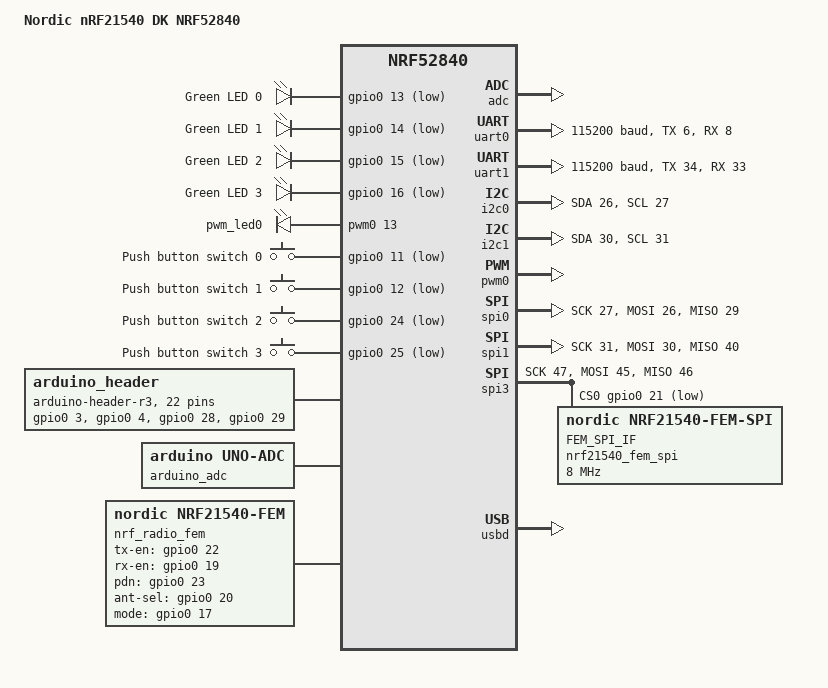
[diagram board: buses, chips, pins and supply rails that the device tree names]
/*
 * Copyright (c) 2020 Nordic Semiconductor ASA
 * Copyright (c) 2017 Linaro Limited
 *
 * SPDX-License-Identifier: Apache-2.0
 */

/dts-v1/;
#include <nordic/nrf52840_qiaa.dtsi>

/ {
	model = "Nordic nRF21540 DK NRF52840";
	compatible = "nordic,nrf21540-dk-nrf52840";

	chosen {
		zephyr,console = &uart0;
		zephyr,shell-uart = &uart0;
		zephyr,uart-mcumgr = &uart0;
		zephyr,bt-mon-uart = &uart0;
		zephyr,bt-c2h-uart = &uart0;
		zephyr,sram = &sram0;
		zephyr,flash = &flash0;
		zephyr,code-partition = &slot0_partition;
	};

	leds {
		compatible = "gpio-leds";
		led0: led_0 {
			gpios = <&gpio0 13 GPIO_ACTIVE_LOW>;
			label = "Green LED 0";
		};
		led1: led_1 {
			gpios = <&gpio0 14 GPIO_ACTIVE_LOW>;
			label = "Green LED 1";
		};
		led2: led_2 {
			gpios = <&gpio0 15 GPIO_ACTIVE_LOW>;
			label = "Green LED 2";
		};
		led3: led_3 {
			gpios = <&gpio0 16 GPIO_ACTIVE_LOW>;
			label = "Green LED 3";
		};
	};

	pwmleds {
		compatible = "pwm-leds";
		pwm_led0: pwm_led_0 {
			pwms = <&pwm0 13>;
		};
	};

	buttons {
		compatible = "gpio-keys";
		button0: button_0 {
			gpios = <&gpio0 11 (GPIO_PULL_UP | GPIO_ACTIVE_LOW)>;
			label = "Push button switch 0";
		};
		button1: button_1 {
			gpios = <&gpio0 12 (GPIO_PULL_UP | GPIO_ACTIVE_LOW)>;
			label = "Push button switch 1";
		};
		button2: button_2 {
			gpios = <&gpio0 24 (GPIO_PULL_UP | GPIO_ACTIVE_LOW)>;
			label = "Push button switch 2";
		};
		button3: button_3 {
			gpios = <&gpio0 25 (GPIO_PULL_UP | GPIO_ACTIVE_LOW)>;
			label = "Push button switch 3";
		};
	};

	arduino_header: connector {
		compatible = "arduino-header-r3";
		#gpio-cells = <2>;
		gpio-map-mask = <0xffffffff 0xffffffc0>;
		gpio-map-pass-thru = <0 0x3f>;
		gpio-map = <0 0 &gpio0 3 0>,	/* A0 */
			   <1 0 &gpio0 4 0>,	/* A1 */
			   <2 0 &gpio0 28 0>,	/* A2 */
			   <3 0 &gpio0 29 0>,	/* A3 */
			   <4 0 &gpio0 30 0>,	/* A4 */
			   <5 0 &gpio0 31 0>,	/* A5 */
			   <6 0 &gpio1 1 0>,	/* D0 */
			   <7 0 &gpio1 2 0>,	/* D1 */
			   <8 0 &gpio1 3 0>,	/* D2 */
			   <9 0 &gpio1 4 0>,	/* D3 */
			   <10 0 &gpio1 5 0>,	/* D4 */
			   <11 0 &gpio1 6 0>,	/* D5 */
			   <12 0 &gpio1 7 0>,	/* D6 */
			   <13 0 &gpio1 8 0>,	/* D7 */
			   <14 0 &gpio1 10 0>,	/* D8 */
			   <15 0 &gpio1 11 0>,	/* D9 */
			   <16 0 &gpio1 12 0>,	/* D10 */
			   <17 0 &gpio1 13 0>,	/* D11 */
			   <18 0 &gpio1 14 0>,	/* D12 */
			   <19 0 &gpio1 15 0>,	/* D13 */
			   <20 0 &gpio0 26 0>,	/* D14 */
			   <21 0 &gpio0 27 0>;	/* D15 */
	};

	arduino_adc: analog-connector {
		compatible = "arduino,uno-adc";
		#io-channel-cells = <1>;
		io-channel-map = <0 &adc 1>,	/* A0 = P0.3 = AIN1 */
				 <1 &adc 2>,	/* A1 = P0.4 = AIN2 */
				 <2 &adc 4>,	/* A2 = P0.28 = AIN4 */
				 <3 &adc 5>,	/* A3 = P0.29 = AIN5 */
				 <4 &adc 6>,	/* A4 = P0.30 = AIN6 */
				 <5 &adc 7>;	/* A5 = P0.31 = AIN7 */
	};

	nrf_radio_fem: nrf21540_fem {
		compatible = "nordic,nrf21540-fem";
		tx-en-gpios = <&gpio0 22 GPIO_ACTIVE_HIGH>;
		rx-en-gpios = <&gpio0 19 GPIO_ACTIVE_HIGH>;
		pdn-gpios = <&gpio0 23 GPIO_ACTIVE_HIGH>;
		ant-sel-gpios = <&gpio0 20 GPIO_ACTIVE_HIGH>;
		mode-gpios = <&gpio0 17 GPIO_ACTIVE_HIGH>;
		spi-if = <&nrf_radio_fem_spi>;
	};

	/* These aliases are provided for compatibility with samples */
	aliases {
		led0 = &led0;
		led1 = &led1;
		led2 = &led2;
		led3 = &led3;
		pwm-led0 = &pwm_led0;
		sw0 = &button0;
		sw1 = &button1;
		sw2 = &button2;
		sw3 = &button3;
		bootloader-led0 = &led0;
		usbd0 = &usbd;
	};
};

&adc {
	status = "okay";
};

&gpiote {
	status = "okay";
};

&gpio0 {
	status = "okay";
};

&gpio1 {
	status = "okay";
};

&uart0 {
	compatible = "nordic,nrf-uarte";
	status = "okay";
	current-speed = <115200>;
	tx-pin = <6>;
	rx-pin = <8>;
	rts-pin = <5>;
	cts-pin = <7>;
};

arduino_serial: &uart1 {
	status = "okay";
	current-speed = <115200>;
	rx-pin = <33>;
	tx-pin = <34>;
};

arduino_i2c: &i2c0 {
	compatible = "nordic,nrf-twi";
	status = "okay";
	sda-pin = <26>;
	scl-pin = <27>;
};

&i2c1 {
	compatible = "nordic,nrf-twi";
	/* Cannot be used together with spi1. */
	/* status = "okay"; */
	sda-pin = <30>;
	scl-pin = <31>;
};

&pwm0 {
	status = "okay";
	ch0-pin = <13>;
	ch0-inverted;
};

&spi0 {
	compatible = "nordic,nrf-spi";
	/* Cannot be used together with i2c0. */
	/* status = "okay"; */
	sck-pin = <27>;
	mosi-pin = <26>;
	miso-pin = <29>;
};

&spi1 {
	compatible = "nordic,nrf-spi";
	status = "okay";
	sck-pin = <31>;
	mosi-pin = <30>;
	miso-pin = <40>;
};

&spi2 {
	compatible = "nordic,nrf-spi";
	status = "disabled";
	sck-pin = <19>;
	mosi-pin = <20>;
	miso-pin = <21>;
};

fem_spi: &spi3 {
	status = "okay";
	sck-pin = <47>;
	miso-pin = <46>;
	mosi-pin = <45>;
	cs-gpios = <&gpio0 21 GPIO_ACTIVE_LOW>;

	nrf_radio_fem_spi: nrf21540_fem_spi@0 {
		compatible = "nordic,nrf21540-fem-spi";
		status = "okay";
		reg = <0>;
		label = "FEM_SPI_IF";
		spi-max-frequency = <8000000>;
	};
};

&flash0 {

	partitions {
		compatible = "fixed-partitions";
		#address-cells = <1>;
		#size-cells = <1>;

		boot_partition: partition@0 {
			label = "mcuboot";
			reg = <0x000000000 0x0000C000>;
		};
		slot0_partition: partition@c000 {
			label = "image-0";
			reg = <0x0000C000 0x00067000>;
		};
		slot1_partition: partition@73000 {
			label = "image-1";
			reg = <0x00073000 0x00067000>;
		};
		scratch_partition: partition@da000 {
			label = "image-scratch";
			reg = <0x000da000 0x0001e000>;
		};

		/*
		 * The flash starting at 0x000f8000 and ending at
		 * 0x000fffff is reserved for use by the application.
		 */

		/*
		 * Storage partition will be used by FCB/LittleFS/NVS
		 * if enabled.
		 */
		storage_partition: partition@f8000 {
			label = "storage";
			reg = <0x000f8000 0x00008000>;
		};
	};
};

&usbd {
	compatible = "nordic,nrf-usbd";
	status = "okay";
};
